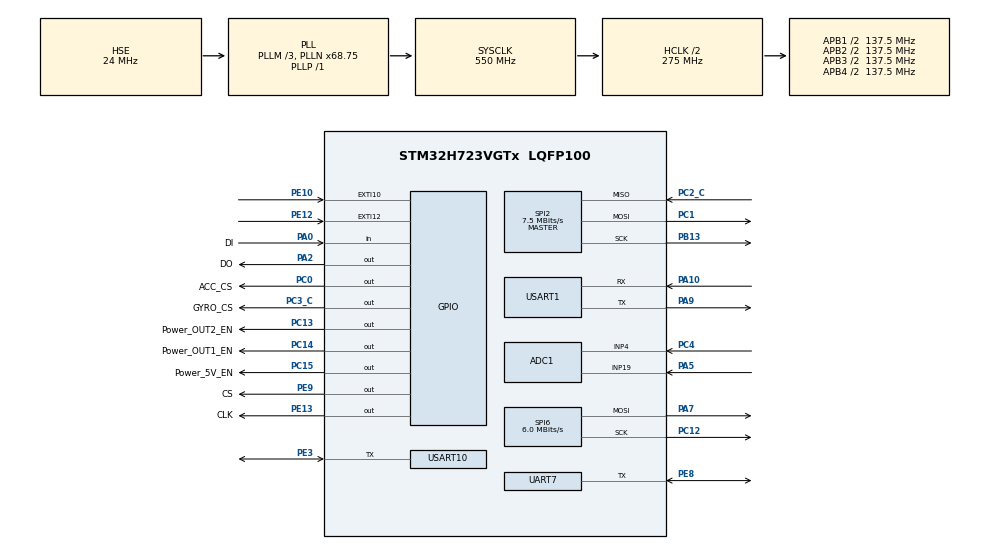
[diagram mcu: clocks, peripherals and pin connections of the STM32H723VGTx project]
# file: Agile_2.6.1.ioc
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ADC1.Channel-0\#ChannelRegularConversion=ADC_CHANNEL_4
ADC1.Channel-1\#ChannelRegularConversion=ADC_CHANNEL_19
ADC1.ClockPrescaler=ADC_CLOCK_ASYNC_DIV64
ADC1.ContinuousConvMode=ENABLE
ADC1.ConversionDataManagement=ADC_CONVERSIONDATA_DMA_CIRCULAR
ADC1.NbrOfConversion=2
ADC1.NbrOfConversionFlag=1
ADC1.OffsetNumber-0\#ChannelRegularConversion=ADC_OFFSET_NONE
ADC1.OffsetNumber-1\#ChannelRegularConversion=ADC_OFFSET_NONE
ADC1.OffsetSignedSaturation-0\#ChannelRegularConversion=DISABLE
ADC1.OffsetSignedSaturation-1\#ChannelRegularConversion=DISABLE
ADC1.Rank-0\#ChannelRegularConversion=1
ADC1.Rank-1\#ChannelRegularConversion=2
ADC1.SamplingTime-0\#ChannelRegularConversion=ADC_SAMPLETIME_32CYCLES_5
ADC1.SamplingTime-1\#ChannelRegularConversion=ADC_SAMPLETIME_32CYCLES_5
ADC1.master=1
Bdma.Request0=SPI6_TX
Bdma.RequestsNb=1
Bdma.SPI6_TX.0.Direction=DMA_MEMORY_TO_PERIPH
Bdma.SPI6_TX.0.EventEnable=DISABLE
Bdma.SPI6_TX.0.Instance=BDMA_Channel0
Bdma.SPI6_TX.0.MemDataAlignment=DMA_MDATAALIGN_BYTE
Bdma.SPI6_TX.0.MemInc=DMA_MINC_ENABLE
Bdma.SPI6_TX.0.Mode=DMA_NORMAL
Bdma.SPI6_TX.0.PeriphDataAlignment=DMA_PDATAALIGN_BYTE
Bdma.SPI6_TX.0.PeriphInc=DMA_PINC_DISABLE
Bdma.SPI6_TX.0.Polarity=HAL_DMAMUX_REQ_GEN_RISING
Bdma.SPI6_TX.0.Priority=DMA_PRIORITY_LOW
Bdma.SPI6_TX.0.RequestNumber=1
Bdma.SPI6_TX.0.SignalID=NONE
Bdma.SPI6_TX.0.SyncEnable=DISABLE
Bdma.SPI6_TX.0.SyncPolarity=HAL_DMAMUX_SYNC_NO_EVENT
Bdma.SPI6_TX.0.SyncRequestNumber=1
Bdma.SPI6_TX.0.SyncSignalID=NONE
CORTEX_M7.CPU_ICache=Enabled
CORTEX_M7.MPU_Control=__NULL
CORTEX_M7.default_mode_Activation=1
Dma.ADC1.0.Direction=DMA_PERIPH_TO_MEMORY
Dma.ADC1.0.EventEnable=DISABLE
Dma.ADC1.0.FIFOMode=DMA_FIFOMODE_DISABLE
Dma.ADC1.0.Instance=DMA1_Stream0
Dma.ADC1.0.MemDataAlignment=DMA_MDATAALIGN_HALFWORD
Dma.ADC1.0.MemInc=DMA_MINC_ENABLE
Dma.ADC1.0.Mode=DMA_CIRCULAR
Dma.ADC1.0.PeriphDataAlignment=DMA_PDATAALIGN_HALFWORD
Dma.ADC1.0.PeriphInc=DMA_PINC_DISABLE
Dma.ADC1.0.Polarity=HAL_DMAMUX_REQ_GEN_RISING
Dma.ADC1.0.Priority=DMA_PRIORITY_LOW
Dma.ADC1.0.RequestNumber=1
Dma.ADC1.0.SignalID=NONE
Dma.ADC1.0.SyncEnable=DISABLE
Dma.ADC1.0.SyncPolarity=HAL_DMAMUX_SYNC_NO_EVENT
Dma.ADC1.0.SyncRequestNumber=1
Dma.ADC1.0.SyncSignalID=NONE
Dma.Request0=ADC1
Dma.Request1=USART1_RX
Dma.Request2=USART1_TX
Dma.Request3=UART7_RX
Dma.Request4=UART7_TX
Dma.Request5=USART10_RX
Dma.Request6=USART10_TX
Dma.Request7=SPI2_TX
Dma.Request8=SPI2_RX
Dma.SPI2_RX.8.Direction=DMA_PERIPH_TO_MEMORY
Dma.SPI2_RX.8.EventEnable=DISABLE
Dma.SPI2_RX.8.FIFOMode=DMA_FIFOMODE_DISABLE
Dma.SPI2_RX.8.Instance=DMA2_Stream0
Dma.SPI2_RX.8.MemDataAlignment=DMA_MDATAALIGN_BYTE
Dma.SPI2_RX.8.MemInc=DMA_MINC_ENABLE
Dma.SPI2_RX.8.Mode=DMA_NORMAL
Dma.SPI2_RX.8.PeriphDataAlignment=DMA_PDATAALIGN_BYTE
Dma.SPI2_RX.8.PeriphInc=DMA_PINC_DISABLE
Dma.SPI2_RX.8.Polarity=HAL_DMAMUX_REQ_GEN_RISING
Dma.SPI2_RX.8.Priority=DMA_PRIORITY_LOW
Dma.SPI2_RX.8.RequestNumber=1
Dma.SPI2_RX.8.SignalID=NONE
Dma.SPI2_RX.8.SyncEnable=DISABLE
Dma.SPI2_RX.8.SyncPolarity=HAL_DMAMUX_SYNC_NO_EVENT
Dma.SPI2_RX.8.SyncRequestNumber=1
Dma.SPI2_RX.8.SyncSignalID=NONE
Dma.SPI2_TX.7.Direction=DMA_MEMORY_TO_PERIPH
Dma.SPI2_TX.7.EventEnable=DISABLE
Dma.SPI2_TX.7.FIFOMode=DMA_FIFOMODE_DISABLE
Dma.SPI2_TX.7.Instance=DMA1_Stream7
Dma.SPI2_TX.7.MemDataAlignment=DMA_MDATAALIGN_BYTE
Dma.SPI2_TX.7.MemInc=DMA_MINC_ENABLE
Dma.SPI2_TX.7.Mode=DMA_NORMAL
Dma.SPI2_TX.7.PeriphDataAlignment=DMA_PDATAALIGN_BYTE
Dma.SPI2_TX.7.PeriphInc=DMA_PINC_DISABLE
Dma.SPI2_TX.7.Polarity=HAL_DMAMUX_REQ_GEN_RISING
Dma.SPI2_TX.7.Priority=DMA_PRIORITY_LOW
Dma.SPI2_TX.7.RequestNumber=1
Dma.SPI2_TX.7.SignalID=NONE
Dma.SPI2_TX.7.SyncEnable=DISABLE
Dma.SPI2_TX.7.SyncPolarity=HAL_DMAMUX_SYNC_NO_EVENT
Dma.SPI2_TX.7.SyncRequestNumber=1
Dma.SPI2_TX.7.SyncSignalID=NONE
Dma.UART7_RX.3.Direction=DMA_PERIPH_TO_MEMORY
Dma.UART7_RX.3.EventEnable=DISABLE
Dma.UART7_RX.3.FIFOMode=DMA_FIFOMODE_DISABLE
Dma.UART7_RX.3.Instance=DMA1_Stream3
Dma.UART7_RX.3.MemDataAlignment=DMA_MDATAALIGN_BYTE
Dma.UART7_RX.3.MemInc=DMA_MINC_ENABLE
Dma.UART7_RX.3.Mode=DMA_NORMAL
Dma.UART7_RX.3.PeriphDataAlignment=DMA_PDATAALIGN_BYTE
Dma.UART7_RX.3.PeriphInc=DMA_PINC_DISABLE
Dma.UART7_RX.3.Polarity=HAL_DMAMUX_REQ_GEN_RISING
Dma.UART7_RX.3.Priority=DMA_PRIORITY_LOW
Dma.UART7_RX.3.RequestNumber=1
Dma.UART7_RX.3.SignalID=NONE
Dma.UART7_RX.3.SyncEnable=DISABLE
Dma.UART7_RX.3.SyncPolarity=HAL_DMAMUX_SYNC_NO_EVENT
Dma.UART7_RX.3.SyncRequestNumber=1
Dma.UART7_RX.3.SyncSignalID=NONE
Dma.UART7_TX.4.Direction=DMA_MEMORY_TO_PERIPH
Dma.UART7_TX.4.EventEnable=DISABLE
Dma.UART7_TX.4.FIFOMode=DMA_FIFOMODE_DISABLE
Dma.UART7_TX.4.Instance=DMA1_Stream4
Dma.UART7_TX.4.MemDataAlignment=DMA_MDATAALIGN_BYTE
Dma.UART7_TX.4.MemInc=DMA_MINC_ENABLE
Dma.UART7_TX.4.Mode=DMA_NORMAL
Dma.UART7_TX.4.PeriphDataAlignment=DMA_PDATAALIGN_BYTE
Dma.UART7_TX.4.PeriphInc=DMA_PINC_DISABLE
Dma.UART7_TX.4.Polarity=HAL_DMAMUX_REQ_GEN_RISING
Dma.UART7_TX.4.Priority=DMA_PRIORITY_LOW
Dma.UART7_TX.4.RequestNumber=1
Dma.UART7_TX.4.SignalID=NONE
Dma.UART7_TX.4.SyncEnable=DISABLE
Dma.UART7_TX.4.SyncPolarity=HAL_DMAMUX_SYNC_NO_EVENT
Dma.UART7_TX.4.SyncRequestNumber=1
Dma.UART7_TX.4.SyncSignalID=NONE
Dma.USART10_RX.5.Direction=DMA_PERIPH_TO_MEMORY
Dma.USART10_RX.5.EventEnable=DISABLE
Dma.USART10_RX.5.FIFOMode=DMA_FIFOMODE_DISABLE
Dma.USART10_RX.5.Instance=DMA1_Stream5
Dma.USART10_RX.5.MemDataAlignment=DMA_MDATAALIGN_BYTE
Dma.USART10_RX.5.MemInc=DMA_MINC_ENABLE
Dma.USART10_RX.5.Mode=DMA_NORMAL
Dma.USART10_RX.5.PeriphDataAlignment=DMA_PDATAALIGN_BYTE
Dma.USART10_RX.5.PeriphInc=DMA_PINC_DISABLE
Dma.USART10_RX.5.Polarity=HAL_DMAMUX_REQ_GEN_RISING
Dma.USART10_RX.5.Priority=DMA_PRIORITY_LOW
Dma.USART10_RX.5.RequestNumber=1
Dma.USART10_RX.5.SignalID=NONE
Dma.USART10_RX.5.SyncEnable=DISABLE
Dma.USART10_RX.5.SyncPolarity=HAL_DMAMUX_SYNC_NO_EVENT
Dma.USART10_RX.5.SyncRequestNumber=1
Dma.USART10_RX.5.SyncSignalID=NONE
Dma.USART10_TX.6.Direction=DMA_MEMORY_TO_PERIPH
Dma.USART10_TX.6.EventEnable=DISABLE
Dma.USART10_TX.6.FIFOMode=DMA_FIFOMODE_DISABLE
Dma.USART10_TX.6.Instance=DMA1_Stream6
Dma.USART10_TX.6.MemDataAlignment=DMA_MDATAALIGN_BYTE
Dma.USART10_TX.6.MemInc=DMA_MINC_ENABLE
Dma.USART10_TX.6.Mode=DMA_NORMAL
Dma.USART10_TX.6.PeriphDataAlignment=DMA_PDATAALIGN_BYTE
Dma.USART10_TX.6.PeriphInc=DMA_PINC_DISABLE
Dma.USART10_TX.6.Polarity=HAL_DMAMUX_REQ_GEN_RISING
Dma.USART10_TX.6.Priority=DMA_PRIORITY_LOW
Dma.USART10_TX.6.RequestNumber=1
Dma.USART10_TX.6.SignalID=NONE
Dma.USART10_TX.6.SyncEnable=DISABLE
Dma.USART10_TX.6.SyncPolarity=HAL_DMAMUX_SYNC_NO_EVENT
Dma.USART10_TX.6.SyncRequestNumber=1
Dma.USART10_TX.6.SyncSignalID=NONE
Dma.USART1_RX.1.Direction=DMA_PERIPH_TO_MEMORY
Dma.USART1_RX.1.EventEnable=DISABLE
Dma.USART1_RX.1.FIFOMode=DMA_FIFOMODE_DISABLE
Dma.USART1_RX.1.Instance=DMA1_Stream1
Dma.USART1_RX.1.MemDataAlignment=DMA_MDATAALIGN_BYTE
Dma.USART1_RX.1.MemInc=DMA_MINC_ENABLE
Dma.USART1_RX.1.Mode=DMA_NORMAL
Dma.USART1_RX.1.PeriphDataAlignment=DMA_PDATAALIGN_BYTE
Dma.USART1_RX.1.PeriphInc=DMA_PINC_DISABLE
Dma.USART1_RX.1.Polarity=HAL_DMAMUX_REQ_GEN_RISING
Dma.USART1_RX.1.Priority=DMA_PRIORITY_LOW
Dma.USART1_RX.1.RequestNumber=1
Dma.USART1_RX.1.SignalID=NONE
Dma.USART1_RX.1.SyncEnable=DISABLE
Dma.USART1_RX.1.SyncPolarity=HAL_DMAMUX_SYNC_NO_EVENT
Dma.USART1_RX.1.SyncRequestNumber=1
Dma.USART1_RX.1.SyncSignalID=NONE
Dma.USART1_TX.2.Direction=DMA_MEMORY_TO_PERIPH
Dma.USART1_TX.2.EventEnable=DISABLE
Dma.USART1_TX.2.FIFOMode=DMA_FIFOMODE_DISABLE
Dma.USART1_TX.2.Instance=DMA1_Stream2
Dma.USART1_TX.2.MemDataAlignment=DMA_MDATAALIGN_BYTE
Dma.USART1_TX.2.MemInc=DMA_MINC_ENABLE
Dma.USART1_TX.2.Mode=DMA_NORMAL
Dma.USART1_TX.2.PeriphDataAlignment=DMA_PDATAALIGN_BYTE
Dma.USART1_TX.2.PeriphInc=DMA_PINC_DISABLE
Dma.USART1_TX.2.Polarity=HAL_DMAMUX_REQ_GEN_RISING
Dma.USART1_TX.2.Priority=DMA_PRIORITY_LOW
Dma.USART1_TX.2.RequestNumber=1
Dma.USART1_TX.2.SignalID=NONE
Dma.USART1_TX.2.SyncEnable=DISABLE
Dma.USART1_TX.2.SyncPolarity=HAL_DMAMUX_SYNC_NO_EVENT
Dma.USART1_TX.2.SyncRequestNumber=1
Dma.USART1_TX.2.SyncSignalID=NONE
FREERTOS.MEMORY_ALLOCATION=1
FREERTOS.Queues01=cliEvtQ,64,void *,0,Static,cliEvtQBuffer,cliEvtQControlBlock
FREERTOS.Tasks01=defaultTask,0,512,StartDefaultTask,Default,NULL,Static,defaultTaskBuffer,defaultTaskControlBlock;INS_TASK,3,1024,INS_Task_Entry,Default,NULL,Static,INS_TASKBuffer,INS_TASKControlBlock;BALANCE_TASK,1,1024,Balance_Task_Entry,Default,NULL,Static,BALANCE_TASKBuffer,BALANCE_TASKControlBlock;UART1_LOG_TASK,-2,768,UART1_Log_Task_Entry,Default,NULL,Static,UART1_LOG_TASKBuffer,UART1_LOG_TASKBlock
FREERTOS.configENABLE_FPU=1
FREERTOS.configUSE_NEWLIB_REENTRANT=1
FREERTOS.copyHeapFile=0
Mcu.Family=STM32H7
Mcu.Name=STM32H723VGTx
Mcu.Package=LQFP100
NVIC.BDMA_Channel0_IRQn=true\:5\:0\:false\:false\:true\:true\:false\:true\:true
NVIC.DMA1_Stream0_IRQn=true\:5\:0\:false\:false\:true\:true\:false\:true\:true
NVIC.DMA1_Stream1_IRQn=true\:5\:0\:false\:false\:true\:true\:false\:true\:true
NVIC.DMA1_Stream2_IRQn=true\:5\:0\:false\:false\:true\:true\:false\:true\:true
NVIC.DMA1_Stream3_IRQn=true\:5\:0\:false\:false\:true\:true\:false\:true\:true
NVIC.DMA1_Stream4_IRQn=true\:5\:0\:false\:false\:true\:true\:false\:true\:true
NVIC.DMA1_Stream5_IRQn=true\:5\:0\:false\:false\:true\:true\:false\:true\:true
NVIC.DMA1_Stream6_IRQn=true\:5\:0\:false\:false\:true\:true\:false\:true\:true
NVIC.DMA1_Stream7_IRQn=true\:5\:0\:false\:false\:true\:true\:false\:true\:true
NVIC.DMA2_Stream0_IRQn=true\:5\:0\:false\:false\:true\:true\:false\:true\:true
NVIC.PriorityGroup=NVIC_PRIORITYGROUP_4
NVIC.SPI2_IRQn=true\:5\:0\:false\:false\:true\:true\:false\:true\:true
NVIC.SPI6_IRQn=true\:5\:0\:false\:false\:true\:true\:false\:true\:true
NVIC.TIM6_DAC_IRQn=true\:15\:0\:false\:false\:true\:false\:false\:true\:true
NVIC.TimeBase=TIM6_DAC_IRQn
NVIC.TimeBaseIP=TIM6
NVIC.UART7_IRQn=true\:5\:0\:false\:false\:true\:true\:true\:true\:true
NVIC.USART10_IRQn=true\:5\:0\:false\:false\:true\:true\:true\:true\:true
NVIC.USART1_IRQn=true\:5\:0\:false\:false\:true\:true\:true\:true\:true
PA0.GPIO_Label=DI
PA0.Signal=GPIO_Input
PA10.Mode=Asynchronous
PA10.Signal=USART1_RX
PA13(JTMS/SWDIO).Mode=Serial_Wire
PA13(JTMS/SWDIO).Signal=DEBUG_JTMS-SWDIO
PA14(JTCK/SWCLK).Mode=Serial_Wire
PA14(JTCK/SWCLK).Signal=DEBUG_JTCK-SWCLK
PA2.GPIO_Label=DO
PA2.Signal=GPIO_Output
PA5.Signal=ADCx_INP19
PA7.Mode=TX_Only_Simplex_Unidirect_Master
PA7.Signal=SPI6_MOSI
PA9.Mode=Asynchronous
PA9.Signal=USART1_TX
PB13.Mode=Full_Duplex_Master
PB13.Signal=SPI2_SCK
PC0.GPIO_Label=ACC_CS
PC0.Signal=GPIO_Output
PC1.Mode=Full_Duplex_Master
PC1.Signal=SPI2_MOSI
PC12.Mode=TX_Only_Simplex_Unidirect_Master
PC12.Signal=SPI6_SCK
PC13.GPIO_Label=Power_OUT2_EN
PC13.Signal=GPIO_Output
PC14-OSC32_IN.GPIO_Label=Power_OUT1_EN
PC14-OSC32_IN.Signal=GPIO_Output
PC15-OSC32_OUT.GPIO_Label=Power_5V_EN
PC15-OSC32_OUT.Signal=GPIO_Output
PC2_C.Mode=Full_Duplex_Master
PC2_C.Signal=SPI2_MISO
PC3_C.GPIO_Label=GYRO_CS
PC3_C.Signal=GPIO_Output
PC4.Signal=ADCx_INP4
PE10.Signal=GPXTI10
PE12.Signal=GPXTI12
PE13.GPIO_Label=CLK
PE13.Signal=GPIO_Output
PE3.GPIO_ModeDefaultOD=GPIO_MODE_AF_PP
PE3.Mode=Half_duplex(single_wire_mode)
PE3.Signal=USART10_TX
PE8.GPIO_ModeDefaultOD=GPIO_MODE_AF_PP
PE8.Mode=Half_duplex(single_wire_mode)
PE8.Signal=UART7_TX
PE9.GPIO_Label=CS
PE9.Signal=GPIO_Output
PH0-OSC_IN.Mode=HSE-External-Oscillator
PH0-OSC_IN.Signal=RCC_OSC_IN
PH1-OSC_OUT.Mode=HSE-External-Oscillator
PH1-OSC_OUT.Signal=RCC_OSC_OUT
ProjectManager.HeapSize=0x200
ProjectManager.StackSize=0x400
ProjectManager.TargetToolchain=STM32CubeIDE
RCC.ADCCLockSelection=RCC_ADCCLKSOURCE_PLL3
RCC.ADCFreq_Value=96000000
RCC.APB1Freq_Value=137500000
RCC.APB2Freq_Value=137500000
RCC.APB3Freq_Value=137500000
RCC.APB4Freq_Value=137500000
RCC.CortexFreq_Value=550000000
RCC.D1PPRE=RCC_APB3_DIV2
RCC.D2PPRE1=RCC_APB1_DIV2
RCC.D2PPRE2=RCC_APB2_DIV2
RCC.D3PPRE=RCC_APB4_DIV2
RCC.DIVM1=3
RCC.DIVM2=2
RCC.DIVM3=3
RCC.DIVN1=68
RCC.DIVN2=20
RCC.DIVN3=48
RCC.DIVP1=1
RCC.DIVP2=1
RCC.DIVP3=1
RCC.DIVR3=4
RCC.HCLKFreq_Value=275000000
RCC.HPRE=RCC_HCLK_DIV2
RCC.HSE_VALUE=24000000
RCC.PLL2FRACN=0
RCC.PLL3FRACN=0
RCC.PLLFRACN=6144
RCC.PLLSourceVirtual=RCC_PLLSOURCE_HSE
RCC.SPI123CLockSelection=RCC_SPI123CLKSOURCE_PLL2
RCC.SPI6CLockSelection=RCC_SPI6CLKSOURCE_HSE
RCC.SYSCLKFreq_VALUE=550000000
RCC.SYSCLKSource=RCC_SYSCLKSOURCE_PLLCLK
RCC.USBFreq_Value=275000000
SH.ADCx_INP19.0=ADC1_INP19,IN19-Single-Ended
SH.ADCx_INP4.0=ADC1_INP4,IN4-Single-Ended
SPI2.BaudRatePrescaler=SPI_BAUDRATEPRESCALER_32
SPI2.CLKPhase=SPI_PHASE_2EDGE
SPI2.CLKPolarity=SPI_POLARITY_HIGH
SPI2.CalculateBaudRate=7.5 MBits/s
SPI2.DataSize=SPI_DATASIZE_8BIT
SPI2.Direction=SPI_DIRECTION_2LINES
SPI2.Mode=SPI_MODE_MASTER
SPI2.VirtualType=VM_MASTER
SPI6.BaudRatePrescaler=SPI_BAUDRATEPRESCALER_4
SPI6.CLKPhase=SPI_PHASE_2EDGE
SPI6.CalculateBaudRate=6.0 MBits/s
SPI6.DataSize=SPI_DATASIZE_8BIT
SPI6.Direction=SPI_DIRECTION_2LINES_TXONLY
SPI6.Mode=SPI_MODE_MASTER
SPI6.VirtualType=VM_MASTER
UART7.BaudRate=38400
UART7.RxPinLevelInvertParam=UART_ADVFEATURE_RXINV_ENABLE
UART7.TxPinLevelInvertParam=UART_ADVFEATURE_TXINV_ENABLE
USART1.VirtualMode-Asynchronous=VM_ASYNC
USART10.BaudRate=38400
USART10.RxPinLevelInvertParam=ADVFEATURE_RXINV_ENABLE
USART10.TxPinLevelInvertParam=ADVFEATURE_TXINV_ENABLE
USART10.VirtualMode=VM_ASYNC
VP_FREERTOS_VS_CMSIS_V1.Mode=CMSIS_V1
VP_MEMORYMAP_VS_MEMORYMAP.Mode=CurAppReg
VP_SYS_VS_tim6.Mode=TIM6
board=custom

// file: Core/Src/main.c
/* USER CODE BEGIN Header */
/**
  ******************************************************************************
  * @file           : main.c
  * @brief          : Main program body
  ******************************************************************************
  * @attention
  *
  * Copyright (c) 2026 STMicroelectronics.
  * All rights reserved.
  *
  * This software is licensed under terms that can be found in the LICENSE file
  * in the root directory of this software component.
  * If no LICENSE file comes with this software, it is provided AS-IS.
  *
  ******************************************************************************
  */
/* USER CODE END Header */
#include "main.h"
#include "cmsis_os.h"
#include "adc.h"
#include "bdma.h"
#include "dma.h"
#include "spi.h"
#include "usart.h"
#include "gpio.h"

/* USER CODE BEGIN Includes */
#include "bsp_dwt.h"
#include "BMI088driver.h"
#include "uart1_log.h"
#include "vofa_uart1.h"

/* USER CODE END Includes */

/* USER CODE BEGIN PD */
#define AGILE_VBUS_SCALE  (3.3f * 11.0f / 65535.0f)

/* USER CODE END PD */

void SystemClock_Config(void);
void MX_FREERTOS_Init(void);

/* USER CODE BEGIN 0 */
static uint16_t s_agile_adc_val[2] = {0U, 0U};

float Agile_GetBusVoltage(void)
{
  return ((float)s_agile_adc_val[0]) * AGILE_VBUS_SCALE;
}

/* USER CODE END 0 */

int main(void)
{

  /* Enable the CPU Cache */

  /* Enable I-Cache---------------------------------------------------------*/
  SCB_EnableICache();

  /* MCU Configuration--------------------------------------------------------*/

  /* Reset of all peripherals, Initializes the Flash interface and the Systick. */
  HAL_Init();

  /* Configure the system clock */
  SystemClock_Config();

  /* Initialize all configured peripherals */
  MX_GPIO_Init();
  MX_BDMA_Init();
  MX_DMA_Init();
  MX_SPI6_Init();
  MX_USART1_UART_Init();
  MX_ADC1_Init();
  MX_UART7_Init();
  MX_USART10_UART_Init();
  MX_SPI2_Init();
  /* USER CODE BEGIN 2 */
  if (HAL_ADCEx_Calibration_Start(&hadc1, ADC_CALIB_OFFSET, ADC_SINGLE_ENDED) != HAL_OK)
  {
    Error_Handler();
  }

  if (HAL_ADC_Start_DMA(&hadc1, (uint32_t *)s_agile_adc_val, 2U) != HAL_OK)
  {
    Error_Handler();
  }

  DWT_Init(550);

  while (BMI088_init(&hspi2, 0) != BMI088_NO_ERROR)
  {
    HAL_Delay(10);
  }
  UART1_LogInit();
  VOFA_UART1_Init();

  /* USER CODE END 2 */

  /* Call init function for freertos objects (in cmsis_os2.c) */
  MX_FREERTOS_Init();

  /* Start scheduler */
  osKernelStart();

  /* We should never get here as control is now taken by the scheduler */

  /* Infinite loop */
  while (1)
  {

  }
}

void SystemClock_Config(void)
{
  RCC_OscInitTypeDef RCC_OscInitStruct = {0};
  RCC_ClkInitTypeDef RCC_ClkInitStruct = {0};

  /** Supply configuration update enable
  */
  HAL_PWREx_ConfigSupply(PWR_LDO_SUPPLY);

  /** Configure the main internal regulator output voltage
  */
  __HAL_PWR_VOLTAGESCALING_CONFIG(PWR_REGULATOR_VOLTAGE_SCALE0);

  while(!__HAL_PWR_GET_FLAG(PWR_FLAG_VOSRDY)) {}

  /** Initializes the RCC Oscillators according to the specified parameters
  * in the RCC_OscInitTypeDef structure.
  */
  RCC_OscInitStruct.OscillatorType = RCC_OSCILLATORTYPE_HSE;
  RCC_OscInitStruct.HSEState = RCC_HSE_ON;
  RCC_OscInitStruct.PLL.PLLState = RCC_PLL_ON;
  RCC_OscInitStruct.PLL.PLLSource = RCC_PLLSOURCE_HSE;
  RCC_OscInitStruct.PLL.PLLM = 3;
  RCC_OscInitStruct.PLL.PLLN = 68;
  RCC_OscInitStruct.PLL.PLLP = 1;
  RCC_OscInitStruct.PLL.PLLQ = 2;
  RCC_OscInitStruct.PLL.PLLR = 2;
  RCC_OscInitStruct.PLL.PLLRGE = RCC_PLL1VCIRANGE_3;
  RCC_OscInitStruct.PLL.PLLVCOSEL = RCC_PLL1VCOWIDE;
  RCC_OscInitStruct.PLL.PLLFRACN = 6144;
  if (HAL_RCC_OscConfig(&RCC_OscInitStruct) != HAL_OK)
  {
    Error_Handler();
  }

  /** Initializes the CPU, AHB and APB buses clocks
  */
  RCC_ClkInitStruct.ClockType = RCC_CLOCKTYPE_HCLK|RCC_CLOCKTYPE_SYSCLK
                              |RCC_CLOCKTYPE_PCLK1|RCC_CLOCKTYPE_PCLK2
                              |RCC_CLOCKTYPE_D3PCLK1|RCC_CLOCKTYPE_D1PCLK1;
  RCC_ClkInitStruct.SYSCLKSource = RCC_SYSCLKSOURCE_PLLCLK;
  RCC_ClkInitStruct.SYSCLKDivider = RCC_SYSCLK_DIV1;
  RCC_ClkInitStruct.AHBCLKDivider = RCC_HCLK_DIV2;
  RCC_ClkInitStruct.APB3CLKDivider = RCC_APB3_DIV2;
  RCC_ClkInitStruct.APB1CLKDivider = RCC_APB1_DIV2;
  RCC_ClkInitStruct.APB2CLKDivider = RCC_APB2_DIV2;
  RCC_ClkInitStruct.APB4CLKDivider = RCC_APB4_DIV2;

  if (HAL_RCC_ClockConfig(&RCC_ClkInitStruct, FLASH_LATENCY_3) != HAL_OK)
  {
    Error_Handler();
  }
}

void HAL_TIM_PeriodElapsedCallback(TIM_HandleTypeDef *htim)
{
  if (htim->Instance == TIM6)
  {
    HAL_IncTick();
  }
}

void Error_Handler(void)
{
  __disable_irq();
  while (1)
  {
  }
}

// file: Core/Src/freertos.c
/* USER CODE BEGIN Header */
/**
  ******************************************************************************
  * File Name          : freertos.c
  * Description        : Code for freertos applications
  ******************************************************************************
  * @attention
  *
  * Copyright (c) 2026 STMicroelectronics.
  * All rights reserved.
  *
  * This software is licensed under terms that can be found in the LICENSE file
  * in the root directory of this software component.
  * If no LICENSE file comes with this software, it is provided AS-IS.
  *
  ******************************************************************************
  */
/* USER CODE END Header */

#include "FreeRTOS.h"
#include "task.h"
#include "main.h"
#include "cmsis_os.h"

/* USER CODE BEGIN Includes */
#include "INS_task.h"
#include "balance_task.h"
#include "uart1_log.h"
#include "ws2812.h"

/* USER CODE END Includes */

osThreadId defaultTaskHandle;
uint32_t defaultTaskBuffer[ 512 ];
osStaticThreadDef_t defaultTaskControlBlock;
osThreadId INS_TASKHandle;
uint32_t INS_TASKBuffer[ 1024 ];
osStaticThreadDef_t INS_TASKControlBlock;
osThreadId BALANCE_TASKHandle;
uint32_t BALANCE_TASKBuffer[ 1024 ];
osStaticThreadDef_t BALANCE_TASKControlBlock;
osThreadId UART1_LOG_TASKHandle;
uint32_t UART1_LOG_TASKBuffer[ 768 ];
osStaticThreadDef_t UART1_LOG_TASKBlock;
osMessageQId cliEvtQHandle;
uint8_t cliEvtQBuffer[ 64 * sizeof( void * ) ];
osStaticMessageQDef_t cliEvtQControlBlock;

void StartDefaultTask(void const * argument);
void INS_Task_Entry(void const * argument);
void Balance_Task_Entry(void const * argument);
void UART1_Log_Task_Entry(void const * argument);

void MX_FREERTOS_Init(void); /* (MISRA C 2004 rule 8.1) */

/* GetIdleTaskMemory prototype (linked to static allocation support) */
void vApplicationGetIdleTaskMemory( StaticTask_t **ppxIdleTaskTCBBuffer, StackType_t **ppxIdleTaskStackBuffer, uint32_t *pulIdleTaskStackSize );

/* USER CODE BEGIN GET_IDLE_TASK_MEMORY */
static StaticTask_t xIdleTaskTCBBuffer;
static StackType_t xIdleStack[configMINIMAL_STACK_SIZE];

void vApplicationGetIdleTaskMemory( StaticTask_t **ppxIdleTaskTCBBuffer, StackType_t **ppxIdleTaskStackBuffer, uint32_t *pulIdleTaskStackSize )
{
  *ppxIdleTaskTCBBuffer = &xIdleTaskTCBBuffer;
  *ppxIdleTaskStackBuffer = &xIdleStack[0];
  *pulIdleTaskStackSize = configMINIMAL_STACK_SIZE;
  /* place for user code */
}
/* USER CODE END GET_IDLE_TASK_MEMORY */

void MX_FREERTOS_Init(void) {

  /* Create the queue(s) */
  /* definition and creation of cliEvtQ */
  osMessageQStaticDef(cliEvtQ, 64, void *, cliEvtQBuffer, &cliEvtQControlBlock);
  cliEvtQHandle = osMessageCreate(osMessageQ(cliEvtQ), NULL);

  /* Create the thread(s) */
  /* definition and creation of defaultTask */
  osThreadStaticDef(defaultTask, StartDefaultTask, osPriorityNormal, 0, 512, defaultTaskBuffer, &defaultTaskControlBlock);
  defaultTaskHandle = osThreadCreate(osThread(defaultTask), NULL);

  /* definition and creation of INS_TASK */
  osThreadStaticDef(INS_TASK, INS_Task_Entry, osPriorityRealtime, 0, 1024, INS_TASKBuffer, &INS_TASKControlBlock);
  INS_TASKHandle = osThreadCreate(osThread(INS_TASK), NULL);

  /* definition and creation of BALANCE_TASK */
  osThreadStaticDef(BALANCE_TASK, Balance_Task_Entry, osPriorityAboveNormal, 0, 1024, BALANCE_TASKBuffer, &BALANCE_TASKControlBlock);
  BALANCE_TASKHandle = osThreadCreate(osThread(BALANCE_TASK), NULL);

  /* definition and creation of UART1_LOG_TASK */
  osThreadStaticDef(UART1_LOG_TASK, UART1_Log_Task_Entry, osPriorityLow, 0, 768, UART1_LOG_TASKBuffer, &UART1_LOG_TASKBlock);
  UART1_LOG_TASKHandle = osThreadCreate(osThread(UART1_LOG_TASK), NULL);

}

void StartDefaultTask(void const * argument)
{
  /* USER CODE BEGIN StartDefaultTask */
  uint8_t r = 0u, g = 0u, b = 0u;
  /* Infinite loop */
  for(;;)
  {
    Balance_WS2812_GetRGB(&r, &g, &b);
    WS2812_Ctrl(r, g, b);
    osDelay(20);
  }
  /* USER CODE END StartDefaultTask */
}

void INS_Task_Entry(void const * argument)
{
  /* USER CODE BEGIN INS_Task_Entry */
  INS_task();
  /* Infinite loop */
  for(;;)
  {
    osDelay(1);
  }
  /* USER CODE END INS_Task_Entry */
}

void Balance_Task_Entry(void const * argument)
{
  /* USER CODE BEGIN Balance_Task_Entry */
  Balance_Task();
  /* Infinite loop */
  for(;;)
  {
    osDelay(1);
  }
  /* USER CODE END Balance_Task_Entry */
}

void UART1_Log_Task_Entry(void const * argument)
{
  /* USER CODE BEGIN UART1_Log_Task_Entry */
  UART1_LogTask(argument);
  /* Infinite loop */
  for(;;)
  {
    osDelay(1);
  }
  /* USER CODE END UART1_Log_Task_Entry */
}
